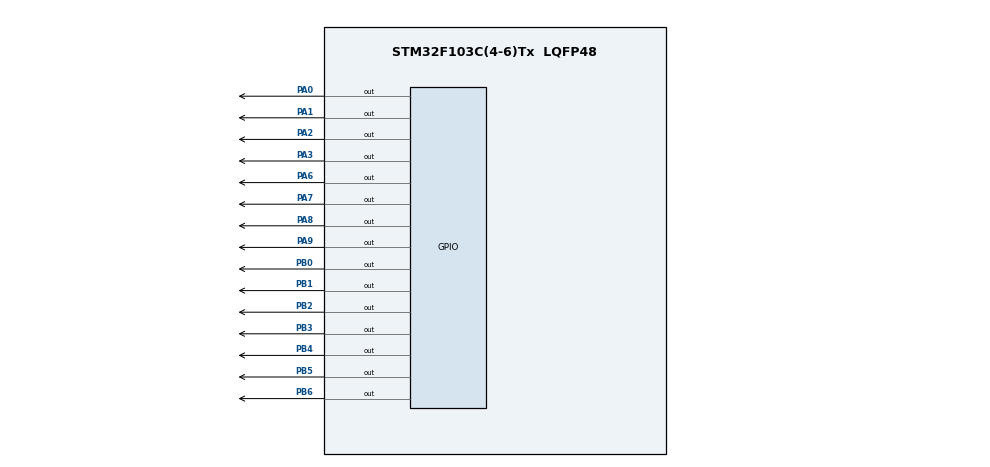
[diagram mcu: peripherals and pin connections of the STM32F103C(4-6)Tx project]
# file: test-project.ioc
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Mcu.Family=STM32F1
Mcu.Name=STM32F103C(4-6)Tx
Mcu.Package=LQFP48
NVIC.PriorityGroup=NVIC_PRIORITYGROUP_4
PA0-WKUP.Signal=GPIO_Output
PA1.Signal=GPIO_Output
PA2.Signal=GPIO_Output
PA3.Signal=GPIO_Output
PA6.Signal=GPIO_Output
PA7.Signal=GPIO_Output
PA8.Signal=GPIO_Output
PA9.Signal=GPIO_Output
PB0.Signal=GPIO_Output
PB1.Signal=GPIO_Output
PB2.Signal=GPIO_Output
PB3.Signal=GPIO_Output
PB4.Signal=GPIO_Output
PB5.Signal=GPIO_Output
PB6.Signal=GPIO_Output
ProjectManager.HeapSize=0x200
ProjectManager.StackSize=0x400
ProjectManager.TargetToolchain=STM32CubeIDE
RCC.APB1Freq_Value=8000000
RCC.APB2Freq_Value=8000000
VP_SYS_VS_ND.Mode=No_Debug
board=custom

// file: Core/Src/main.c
/* USER CODE BEGIN Header */
/**
  ******************************************************************************
  * @file           : main.c
  * @brief          : Main program body
  ******************************************************************************
  * @attention
  *
  * <h2><center>&copy; Copyright (c) 2021 STMicroelectronics.
  * All rights reserved.</center></h2>
  *
  * This software component is licensed by ST under BSD 3-Clause license,
  * the "License"; You may not use this file except in compliance with the
  * License. You may obtain a copy of the License at:
  *                        opensource.org/licenses/BSD-3-Clause
  *
  ******************************************************************************
  */
/* USER CODE END Header */

#include "main.h"

void SystemClock_Config(void);
static void MX_GPIO_Init(void);
/* USER CODE BEGIN PFP */
unsigned key_press(void);
unsigned char check_clm(unsigned char);
void Disp_CA(unsigned char);
char read_keypad (void);
/* USER CODE END PFP */

int main(void)
{
  /* USER CODE BEGIN 1 */
	unsigned char var1;
  /* USER CODE END 1 */

  /* MCU Configuration--------------------------------------------------------*/

  /* Reset of all peripherals, Initializes the Flash interface and the Systick. */
  HAL_Init();

  /* Configure the system clock */
  SystemClock_Config();

  /* Initialize all configured peripherals */
  MX_GPIO_Init();
  /* USER CODE BEGIN 2 */
  HAL_GPIO_WritePin(GPIOA, GPIO_PIN_0|GPIO_PIN_1|GPIO_PIN_2|GPIO_PIN_3, GPIO_PIN_SET);
  HAL_GPIO_WritePin(GPIOA, GPIO_PIN_2, GPIO_PIN_SET);
  HAL_GPIO_WritePin(GPIOA, GPIO_PIN_6|GPIO_PIN_7|GPIO_PIN_8|GPIO_PIN_9, GPIO_PIN_RESET);

  HAL_GPIO_WritePin(GPIOB, GPIO_PIN_0|GPIO_PIN_1|GPIO_PIN_2|GPIO_PIN_3|GPIO_PIN_4|GPIO_PIN_5|GPIO_PIN_6, GPIO_PIN_SET);
  /* USER CODE END 2 */
  Disp_CA(0);
  HAL_Delay(500);
  /* Infinite loop */
  while (1)
  {
	  var1 = key_press();
	  Disp_CA(var1);
	  HAL_Delay(100);
  }
}

void SystemClock_Config(void)
{
  RCC_OscInitTypeDef RCC_OscInitStruct = {0};
  RCC_ClkInitTypeDef RCC_ClkInitStruct = {0};

  /** Initializes the CPU, AHB and APB busses clocks
  */
  RCC_OscInitStruct.OscillatorType = RCC_OSCILLATORTYPE_HSI;
  RCC_OscInitStruct.HSIState = RCC_HSI_ON;
  RCC_OscInitStruct.HSICalibrationValue = RCC_HSICALIBRATION_DEFAULT;
  RCC_OscInitStruct.PLL.PLLState = RCC_PLL_NONE;
  if (HAL_RCC_OscConfig(&RCC_OscInitStruct) != HAL_OK)
  {
    Error_Handler();
  }
  /** Initializes the CPU, AHB and APB busses clocks
  */
  RCC_ClkInitStruct.ClockType = RCC_CLOCKTYPE_HCLK|RCC_CLOCKTYPE_SYSCLK
                              |RCC_CLOCKTYPE_PCLK1|RCC_CLOCKTYPE_PCLK2;
  RCC_ClkInitStruct.SYSCLKSource = RCC_SYSCLKSOURCE_HSI;
  RCC_ClkInitStruct.AHBCLKDivider = RCC_SYSCLK_DIV1;
  RCC_ClkInitStruct.APB1CLKDivider = RCC_HCLK_DIV1;
  RCC_ClkInitStruct.APB2CLKDivider = RCC_HCLK_DIV1;

  if (HAL_RCC_ClockConfig(&RCC_ClkInitStruct, FLASH_LATENCY_0) != HAL_OK)
  {
    Error_Handler();
  }
}

static void MX_GPIO_Init(void)
{
  GPIO_InitTypeDef GPIO_InitStruct = {0};

  /* GPIO Ports Clock Enable */
  __HAL_RCC_GPIOA_CLK_ENABLE();
  __HAL_RCC_GPIOB_CLK_ENABLE();

  /*Configure GPIO pin Output Level */
  HAL_GPIO_WritePin(GPIOA, GPIO_PIN_0|GPIO_PIN_1|GPIO_PIN_2|GPIO_PIN_3
                          |GPIO_PIN_6|GPIO_PIN_7|GPIO_PIN_8|GPIO_PIN_9, GPIO_PIN_RESET);

  /*Configure GPIO pin Output Level */
  HAL_GPIO_WritePin(GPIOB, GPIO_PIN_0|GPIO_PIN_1|GPIO_PIN_2|GPIO_PIN_3
                          |GPIO_PIN_4|GPIO_PIN_5|GPIO_PIN_6, GPIO_PIN_RESET);

  /*Configure GPIO pins : PA0 PA1 PA2 PA3
                           PA6 PA7 PA8 PA9 */
  GPIO_InitStruct.Pin = GPIO_PIN_0|GPIO_PIN_1|GPIO_PIN_2|GPIO_PIN_3
                          |GPIO_PIN_6|GPIO_PIN_7|GPIO_PIN_8|GPIO_PIN_9;
  GPIO_InitStruct.Mode = GPIO_MODE_OUTPUT_PP;
  GPIO_InitStruct.Pull = GPIO_NOPULL;
  GPIO_InitStruct.Speed = GPIO_SPEED_FREQ_LOW;
  HAL_GPIO_Init(GPIOA, &GPIO_InitStruct);

  /*Configure GPIO pins : PB0 PB1 PB2 PB3
                           PB4 PB5 PB6 */
  GPIO_InitStruct.Pin = GPIO_PIN_0|GPIO_PIN_1|GPIO_PIN_2|GPIO_PIN_3
                          |GPIO_PIN_4|GPIO_PIN_5|GPIO_PIN_6;
  GPIO_InitStruct.Mode = GPIO_MODE_OUTPUT_PP;
  GPIO_InitStruct.Pull = GPIO_NOPULL;
  GPIO_InitStruct.Speed = GPIO_SPEED_FREQ_LOW;
  HAL_GPIO_Init(GPIOB, &GPIO_InitStruct);

}

/* USER CODE BEGIN 4 */
unsigned key_press(void){
	unsigned char clm_var;
	unsigned char key_arr[] = {1, 2, 3, 10, 4, 5, 6, 11, 7, 8, 9, 12, 13, 0, 14, 15};

	if(HAL_GPIO_ReadPin(GPIOA, GPIO_PIN_0) == 0)
	{
		clm_var = check_clm(GPIO_PIN_0);
		return key_arr[clm_var - 1];
	}
	else if( HAL_GPIO_ReadPin(GPIOA, GPIO_PIN_1) == 0)
	{
		clm_var = check_clm(GPIO_PIN_1);
		return key_arr[clm_var + 3];
	}
	else if( HAL_GPIO_ReadPin(GPIOA, GPIO_PIN_2) == 0)
	{
		clm_var = check_clm(GPIO_PIN_2);
		return key_arr[clm_var + 7];
	}
	else if( HAL_GPIO_ReadPin(GPIOA, GPIO_PIN_3) == 0)
	{
		clm_var = check_clm(GPIO_PIN_3);
		return key_arr[clm_var + 11];
	}
	else
	{
//		HAL_GPIO_WritePin(GPIOA, GPIO_PIN_0|GPIO_PIN_1|GPIO_PIN_2|GPIO_PIN_3, GPIO_PIN_SET);
		return 16;
	}
}
unsigned char check_clm(unsigned char pin_var){
	unsigned char clm;
	HAL_GPIO_WritePin(GPIOA, GPIO_PIN_6|GPIO_PIN_7|GPIO_PIN_8|GPIO_PIN_9, GPIO_PIN_SET);

	HAL_GPIO_WritePin(GPIOA, GPIO_PIN_6, GPIO_PIN_RESET);
	if(HAL_GPIO_ReadPin(GPIOA, pin_var) == 0){
		clm = 1;
	}

	HAL_GPIO_WritePin(GPIOA, GPIO_PIN_6, GPIO_PIN_SET);
	HAL_GPIO_WritePin(GPIOA, GPIO_PIN_7, GPIO_PIN_RESET);
	if(HAL_GPIO_ReadPin(GPIOA, pin_var) == 0){
		clm = 2;
	}

	HAL_GPIO_WritePin(GPIOA, GPIO_PIN_7, GPIO_PIN_SET);
	HAL_GPIO_WritePin(GPIOA, GPIO_PIN_8, GPIO_PIN_RESET);
	if(HAL_GPIO_ReadPin(GPIOA, pin_var) == 0){
		clm = 3;
	}

	HAL_GPIO_WritePin(GPIOA, GPIO_PIN_8, GPIO_PIN_SET);
	HAL_GPIO_WritePin(GPIOA, GPIO_PIN_9, GPIO_PIN_RESET);
	if(HAL_GPIO_ReadPin(GPIOA, pin_var) == 0){
		clm = 4;
	}
//	HAL_GPIO_WritePin(GPIOA, GPIO_PIN_0|GPIO_PIN_1|GPIO_PIN_2|GPIO_PIN_3, GPIO_PIN_SET);
	HAL_GPIO_WritePin(GPIOA, GPIO_PIN_6|GPIO_PIN_7|GPIO_PIN_8|GPIO_PIN_9, GPIO_PIN_RESET);
	return clm;
}

void Disp_CA(unsigned char var_1){
	unsigned char disp_arr[] = {0x40, 0x79, 0x24, 0x30, 0x19, 0x12, 0x02, 0x78, 0x00, 0x10, 0x08, 0x03, 0x46, 0x21, 0x06, 0x0e, 0xff};
	unsigned char data1, bit_var;

	data1 = disp_arr[var_1];
	bit_var = data1 & 0x01;
	HAL_GPIO_WritePin(GPIOB, GPIO_PIN_0, bit_var);

	bit_var = (data1>>1) & 0x01;
	HAL_GPIO_WritePin(GPIOB, GPIO_PIN_1, bit_var);

	bit_var = (data1>>2) & 0x01;
	HAL_GPIO_WritePin(GPIOB, GPIO_PIN_2, bit_var);

	bit_var = (data1>>3) & 0x01;
	HAL_GPIO_WritePin(GPIOB, GPIO_PIN_3, bit_var);

	bit_var = (data1>>4) & 0x01;
	HAL_GPIO_WritePin(GPIOB, GPIO_PIN_4, bit_var);

	bit_var = (data1>>5) & 0x01;
	HAL_GPIO_WritePin(GPIOB, GPIO_PIN_5, bit_var);

	bit_var = (data1>>6) & 0x01;
	HAL_GPIO_WritePin(GPIOB, GPIO_PIN_6, bit_var);
}
/* USER CODE END 4 */

void Error_Handler(void)
{
}

/************************ (C) COPYRIGHT STMicroelectronics *****END OF FILE****/
